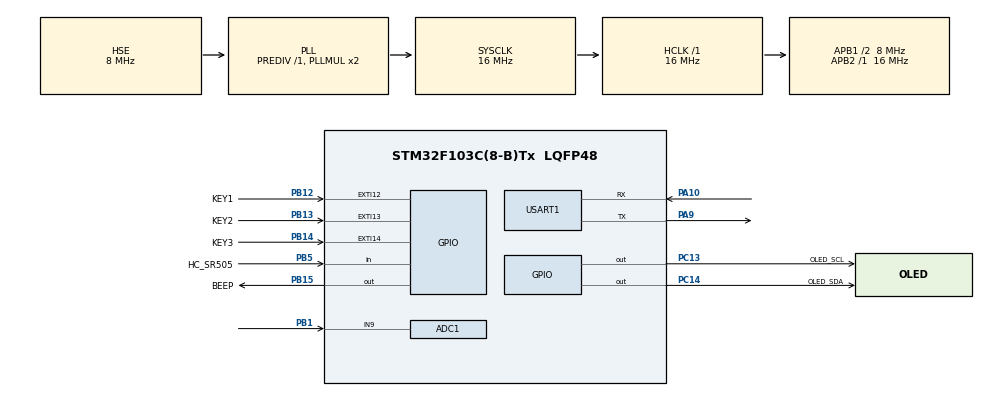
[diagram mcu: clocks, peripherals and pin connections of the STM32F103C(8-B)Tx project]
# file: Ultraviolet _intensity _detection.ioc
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ADC1.Channel-0\#ChannelRegularConversion=ADC_CHANNEL_9
ADC1.NbrOfConversionFlag=1
ADC1.Rank-0\#ChannelRegularConversion=1
ADC1.SamplingTime-0\#ChannelRegularConversion=ADC_SAMPLETIME_1CYCLE_5
ADC1.master=1
Dma.Request0=USART1_RX
Dma.USART1_RX.0.Direction=DMA_PERIPH_TO_MEMORY
Dma.USART1_RX.0.Instance=DMA1_Channel5
Dma.USART1_RX.0.MemDataAlignment=DMA_MDATAALIGN_BYTE
Dma.USART1_RX.0.MemInc=DMA_MINC_ENABLE
Dma.USART1_RX.0.Mode=DMA_NORMAL
Dma.USART1_RX.0.PeriphDataAlignment=DMA_PDATAALIGN_BYTE
Dma.USART1_RX.0.PeriphInc=DMA_PINC_DISABLE
Dma.USART1_RX.0.Priority=DMA_PRIORITY_LOW
Mcu.Family=STM32F1
Mcu.Name=STM32F103C(8-B)Tx
Mcu.Package=LQFP48
NVIC.DMA1_Channel5_IRQn=true\:0\:0\:false\:false\:true\:false\:true\:true
NVIC.EXTI15_10_IRQn=true\:0\:0\:false\:false\:true\:true\:true\:true
NVIC.PriorityGroup=NVIC_PRIORITYGROUP_4
NVIC.USART1_IRQn=true\:0\:0\:true\:false\:true\:true\:true\:true
PA10.Mode=Asynchronous
PA10.Signal=USART1_RX
PA13.Mode=Serial_Wire
PA13.Signal=SYS_JTMS-SWDIO
PA14.Mode=Serial_Wire
PA14.Signal=SYS_JTCK-SWCLK
PA9.Mode=Asynchronous
PA9.Signal=USART1_TX
PB1.Signal=ADCx_IN9
PB12.GPIO_Label=KEY1
PB12.GPIO_ModeDefaultEXTI=GPIO_MODE_IT_FALLING
PB12.GPIO_PuPd=GPIO_PULLUP
PB12.Signal=GPXTI12
PB13.GPIO_Label=KEY2
PB13.GPIO_ModeDefaultEXTI=GPIO_MODE_IT_FALLING
PB13.GPIO_PuPd=GPIO_PULLUP
PB13.Signal=GPXTI13
PB14.GPIO_Label=KEY3
PB14.GPIO_ModeDefaultEXTI=GPIO_MODE_IT_FALLING
PB14.GPIO_PuPd=GPIO_PULLUP
PB14.Signal=GPXTI14
PB15.GPIO_Label=BEEP
PB15.GPIO_ModeDefaultOutputPP=GPIO_MODE_OUTPUT_PP
PB15.GPIO_PuPd=GPIO_PULLUP
PB15.GPIO_Speed=GPIO_SPEED_FREQ_HIGH
PB15.PinState=GPIO_PIN_SET
PB15.Signal=GPIO_Output
PB5.GPIO_Label=HC_SR505
PB5.GPIO_PuPd=GPIO_PULLDOWN
PB5.Signal=GPIO_Input
PC13-TAMPER-RTC.GPIO_Label=OLED_SCL
PC13-TAMPER-RTC.GPIO_ModeDefaultOutputPP=GPIO_MODE_OUTPUT_PP
PC13-TAMPER-RTC.GPIO_PuPd=GPIO_PULLUP
PC13-TAMPER-RTC.GPIO_Speed=GPIO_SPEED_FREQ_HIGH
PC13-TAMPER-RTC.PinState=GPIO_PIN_SET
PC13-TAMPER-RTC.Signal=GPIO_Output
PC14-OSC32_IN.GPIO_Label=OLED_SDA
PC14-OSC32_IN.GPIO_ModeDefaultOutputPP=GPIO_MODE_OUTPUT_PP
PC14-OSC32_IN.GPIO_PuPd=GPIO_PULLUP
PC14-OSC32_IN.GPIO_Speed=GPIO_SPEED_FREQ_HIGH
PC14-OSC32_IN.PinState=GPIO_PIN_SET
PC14-OSC32_IN.Signal=GPIO_Output
PD0-OSC_IN.Mode=HSE-External-Oscillator
PD0-OSC_IN.Signal=RCC_OSC_IN
PD1-OSC_OUT.Mode=HSE-External-Oscillator
PD1-OSC_OUT.Signal=RCC_OSC_OUT
ProjectManager.HeapSize=0x200
ProjectManager.StackSize=0x400
ProjectManager.TargetToolchain=MDK-ARM V5.32
RCC.AHBFreq_Value=16000000
RCC.APB1CLKDivider=RCC_HCLK_DIV2
RCC.APB1Freq_Value=8000000
RCC.APB1TimFreq_Value=16000000
RCC.APB2Freq_Value=16000000
RCC.APB2TimFreq_Value=16000000
RCC.HCLKFreq_Value=16000000
RCC.PLLSourceVirtual=RCC_PLLSOURCE_HSE
RCC.SYSCLKFreq_VALUE=16000000
RCC.SYSCLKSource=RCC_SYSCLKSOURCE_PLLCLK
RCC.USBFreq_Value=16000000
SH.ADCx_IN9.0=ADC1_IN9,IN9
USART1.VirtualMode=VM_ASYNC
board=custom

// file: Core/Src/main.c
/* USER CODE BEGIN Header */
/**
  ******************************************************************************
  * @file           : main.c
  * @brief          : Main program body
  ******************************************************************************
  * @attention
  *
  * Copyright (c) 2026 STMicroelectronics.
  * All rights reserved.
  *
  * This software is licensed under terms that can be found in the LICENSE file
  * in the root directory of this software component.
  * If no LICENSE file comes with this software, it is provided AS-IS.
  *
  ******************************************************************************
  */
/* USER CODE END Header */
#include "main.h"
#include "adc.h"
#include "dma.h"
#include "usart.h"
#include "gpio.h"

/* USER CODE BEGIN Includes */
#include "oled_1315.h"
#include "direct_8266.h"
#include "flash_storage.h"
/* USER CODE END Includes */

/* USER CODE BEGIN PV */
uint16_t adc_value = 0;
uint8_t first_display = 1;
volatile uint8_t setting_mode = 0;
volatile uint8_t threshold_value = 1;
uint8_t last_threshold_value = 1;

// HC-SR505相关变量
uint8_t hc_sr505_counter = 0;
uint8_t alarm_active = 0;
/* USER CODE END PV */

void SystemClock_Config(void);

int main(void)
{

  /* MCU Configuration--------------------------------------------------------*/

  /* Reset of all peripherals, Initializes the Flash interface and the Systick. */
  HAL_Init();

  /* Configure the system clock */
  SystemClock_Config();

  /* Initialize all configured peripherals */
  MX_GPIO_Init();
  MX_DMA_Init();
  MX_ADC1_Init();
  MX_USART1_UART_Init();
  /* USER CODE BEGIN 2 */
  OLED_Init();

  // 显示WiFi配置中信息
  OLED_Clear();
  OLED_ShowString(0, 0, (uint8_t*)"WiFi Configuring...", 8);
  OLED_ShowString(0, 2, (uint8_t*)"Please wait...", 8);
  OLED_Refresh();

  start_esp8266();

  threshold_value = Flash_ReadThreshold();
  last_threshold_value = threshold_value;

  // 清除WiFi配置信息
  OLED_Clear();

  /* USER CODE END 2 */

  /* Infinite loop */
  while (1)
  {

    /* USER CODE BEGIN 3 */
    static uint8_t last_setting_mode = 0;

    if (setting_mode)
    {
        if (last_setting_mode != setting_mode)
        {
            OLED_Clear();
            last_setting_mode = setting_mode;
        }

        OLED_ShowString(0, 0, (uint8_t*)"Setting Mode:", 8);
        OLED_ShowString(0, 1, (uint8_t*)"Threshold:", 8);
        OLED_ShowNum(64, 1, threshold_value, 2, 8);
        OLED_ShowString(0, 3, (uint8_t*)"K2:+ K3:-", 8);
        OLED_Refresh();

        HAL_Delay(200);
    }
    else
        {
            if (last_setting_mode != setting_mode)
            {
                OLED_Clear();
                last_setting_mode = setting_mode;
                first_display = 0;
            }

            HAL_ADC_Start(&hadc1);
            if (HAL_ADC_PollForConversion(&hadc1, 100) == HAL_OK)
            {
                adc_value = HAL_ADC_GetValue(&hadc1);
            }
            HAL_ADC_Stop(&hadc1);

            // 检测HC-SR505状态
            if (HAL_GPIO_ReadPin(HC_SR505_GPIO_Port, HC_SR505_Pin) == GPIO_PIN_SET)
            {
                if (hc_sr505_counter < 10)
                {
                    hc_sr505_counter++;
                }
            }
            else
            {
                hc_sr505_counter = 0;
                if (alarm_active)
                {
                    // 关闭蜂鸣器
                    HAL_GPIO_WritePin(BEEP_GPIO_Port, BEEP_Pin, GPIO_PIN_SET);
                    alarm_active = 0;
                }
            }

            // 判断是否触发报警
            if (hc_sr505_counter >= 10 && adc_value > threshold_value && !alarm_active)
            {
                // 开启蜂鸣器
                HAL_GPIO_WritePin(BEEP_GPIO_Port, BEEP_Pin, GPIO_PIN_RESET);
                alarm_active = 1;

                // 发送报警数据到ESP8266
                char alarm_data[30];
                sprintf(alarm_data, "ALARM:UV=%d,MOTION=1", adc_value);
                send_wifi(alarm_data, strlen(alarm_data));
            }

            if (first_display)
            {
                OLED_Clear();
                first_display = 0;
            }

            OLED_ShowString(0, 0, (uint8_t*)"UV Intensity:", 8);
            OLED_ShowNum(84, 0, adc_value, 4, 8);

            OLED_ShowString(0, 1, (uint8_t*)"Threshold:", 8);
            OLED_ShowNum(64, 1, threshold_value, 2, 8);

            OLED_ShowString(0, 2, (uint8_t*)"Motion:", 8);
            if (HAL_GPIO_ReadPin(HC_SR505_GPIO_Port, HC_SR505_Pin) == GPIO_PIN_SET)
            {
                OLED_ShowString(56, 2, (uint8_t*)"YES", 8);
            }
            else
            {
                OLED_ShowString(56, 2, (uint8_t*)"NO ", 8);
            }

            OLED_ShowString(0, 3, (uint8_t*)"Alarm:", 8);
            if (alarm_active)
            {
                OLED_ShowString(56, 3, (uint8_t*)"ACTIVE  ", 8);
            }
            else
            {
                OLED_ShowString(56, 3, (uint8_t*)"INACTIVE", 8);
            }

            OLED_ShowString(0, 4, (uint8_t*)"WiFi:", 8);
            extern bool device_connect;
            if (device_connect)
            {
                OLED_ShowString(56, 4, (uint8_t*)"Connected   ", 8);
            }
            else
            {
                OLED_ShowString(56, 4, (uint8_t*)"Disconnected", 8);
            }

            OLED_Refresh();

            // 发送UV值到ESP8266
            extern bool set_flag;
            if (!set_flag)
            {
                char wifi_data[20];
                sprintf(wifi_data, "UV:%d", adc_value);
                send_wifi(wifi_data, strlen(wifi_data));
            }
            else
            {
                set_flag = false; // 重置标志
            }

            handle_esp8266();
            HAL_Delay(2000);
        }
  }
  /* USER CODE END 3 */
}

void SystemClock_Config(void)
{
  RCC_OscInitTypeDef RCC_OscInitStruct = {0};
  RCC_ClkInitTypeDef RCC_ClkInitStruct = {0};
  RCC_PeriphCLKInitTypeDef PeriphClkInit = {0};

  /** Initializes the RCC Oscillators according to the specified parameters
  * in the RCC_OscInitTypeDef structure.
  */
  RCC_OscInitStruct.OscillatorType = RCC_OSCILLATORTYPE_HSE;
  RCC_OscInitStruct.HSEState = RCC_HSE_ON;
  RCC_OscInitStruct.HSEPredivValue = RCC_HSE_PREDIV_DIV1;
  RCC_OscInitStruct.HSIState = RCC_HSI_ON;
  RCC_OscInitStruct.PLL.PLLState = RCC_PLL_ON;
  RCC_OscInitStruct.PLL.PLLSource = RCC_PLLSOURCE_HSE;
  RCC_OscInitStruct.PLL.PLLMUL = RCC_PLL_MUL2;
  if (HAL_RCC_OscConfig(&RCC_OscInitStruct) != HAL_OK)
  {
    Error_Handler();
  }

  /** Initializes the CPU, AHB and APB buses clocks
  */
  RCC_ClkInitStruct.ClockType = RCC_CLOCKTYPE_HCLK|RCC_CLOCKTYPE_SYSCLK
                              |RCC_CLOCKTYPE_PCLK1|RCC_CLOCKTYPE_PCLK2;
  RCC_ClkInitStruct.SYSCLKSource = RCC_SYSCLKSOURCE_PLLCLK;
  RCC_ClkInitStruct.AHBCLKDivider = RCC_SYSCLK_DIV1;
  RCC_ClkInitStruct.APB1CLKDivider = RCC_HCLK_DIV2;
  RCC_ClkInitStruct.APB2CLKDivider = RCC_HCLK_DIV1;

  if (HAL_RCC_ClockConfig(&RCC_ClkInitStruct, FLASH_LATENCY_0) != HAL_OK)
  {
    Error_Handler();
  }
  PeriphClkInit.PeriphClockSelection = RCC_PERIPHCLK_ADC;
  PeriphClkInit.AdcClockSelection = RCC_ADCPCLK2_DIV2;
  if (HAL_RCCEx_PeriphCLKConfig(&PeriphClkInit) != HAL_OK)
  {
    Error_Handler();
  }
}

void Error_Handler(void)
{
  __disable_irq();
  while (1)
  {
  }
}
